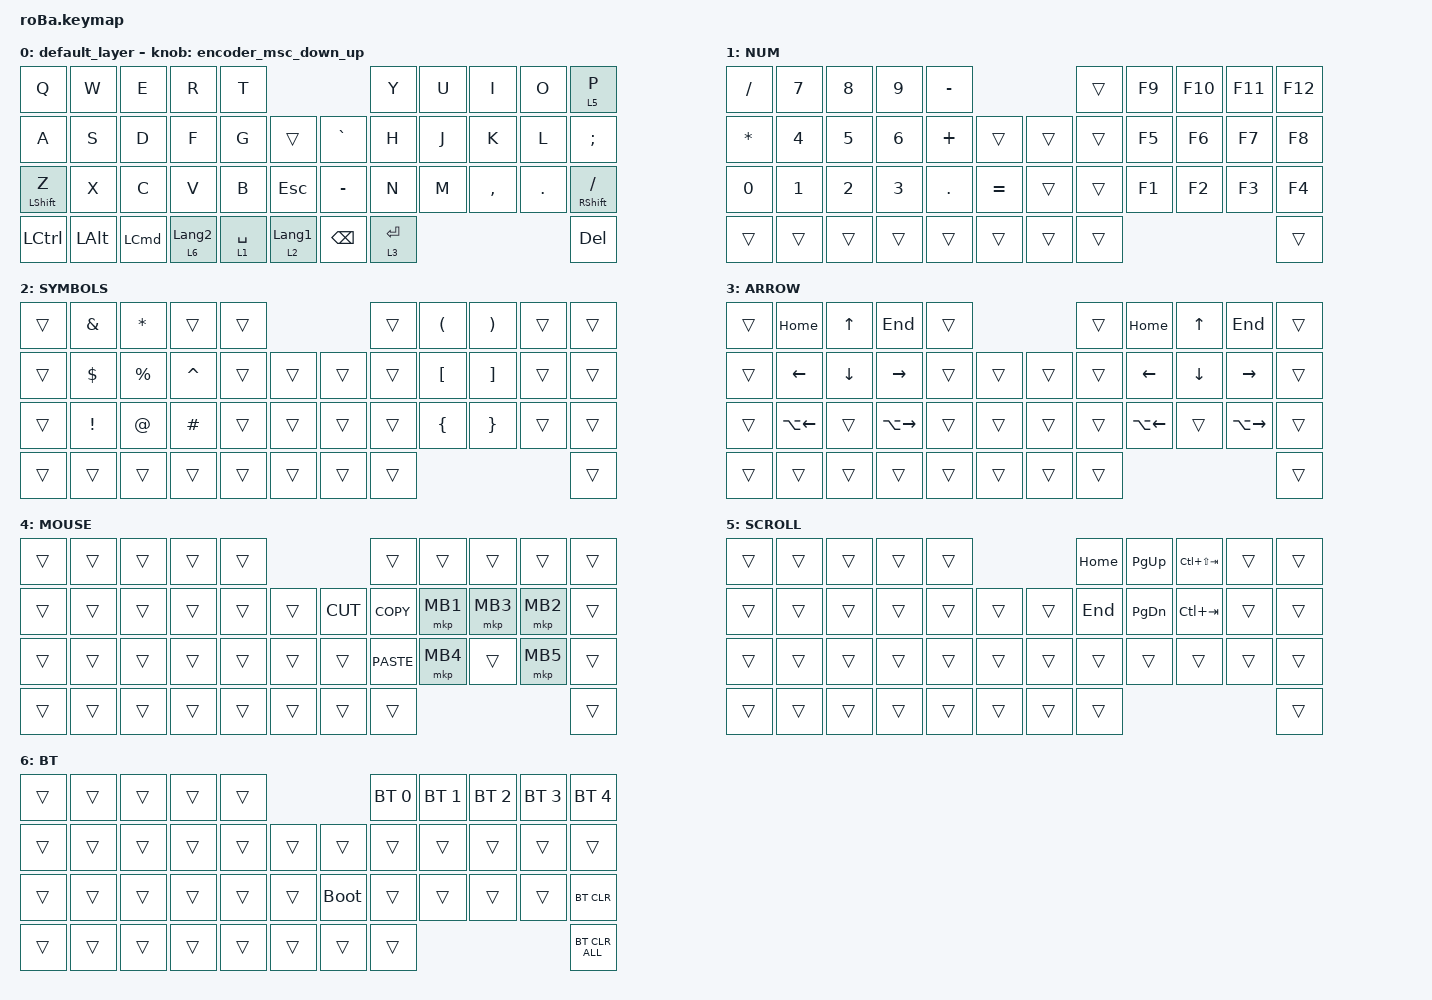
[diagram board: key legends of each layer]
#include <behaviors.dtsi>
#include <dt-bindings/zmk/bt.h>
#include <dt-bindings/zmk/keys.h>
#include <dt-bindings/zmk/pointing.h>

#define ZMK_POINTING_DEFAULT_SCRL_VAL 80

&mt {
    flavor = "balanced";
    quick-tap-ms = <0>;
};

&trackball {
    automouse-layer = <4>;
    scroll-layers = <5>;

    // arrows {
    //     layers = <3>;
    //     bindings =
    //         <&kp RIGHT_ARROW>,
    //         <&kp LEFT_ARROW>,
    //         <&kp UP_ARROW>,
    //         <&kp DOWN_ARROW>;
    //     tick = <10>;
    //     wait-ms = <5>;
    //     tap-ms = <5>;
    // };
};

/ {
    combos {
        compatible = "zmk,combos";

        tab {
            bindings = <&kp TAB>;
            key-positions = <11 12>;
            layers = <0>;
        };

        shift_tab {
            bindings = <&kp LS(TAB)>;
            key-positions = <12 13>;
            layers = <0>;
        };

        eq {
            bindings = <&kp EQUAL>;
            key-positions = <8 9>;
            layers = <0>;
        };

        qt {
            bindings = <&kp SQT>;
            key-positions = <20 21>;
            layers = <0>;
        };

        backslash {
            bindings = <&kp BACKSLASH>;
            key-positions = <32 33>;
            layers = <0>;
        };
    };

    macros {
        to_layer_0: to_layer_0 {
            compatible = "zmk,behavior-macro-one-param";
            #binding-cells = <1>;
            bindings = <&to 0 &macro_param_1to1 &kp MACRO_PLACEHOLDER>;
            label = "TO_LAYER_0";
        };
    };

    behaviors {
        lt_to_layer_0: lt_to_layer_0 {
            compatible = "zmk,behavior-hold-tap";
            label = "LAYER_TAP_TO_0";
            bindings = <&mo>, <&to_layer_0>;

            #binding-cells = <2>;
            tapping-term-ms = <200>;
        };

        encoder_msc_down_up: encoder_msc_down_up {
            compatible = "zmk,behavior-sensor-rotate";
            label = "ENCODER_MSC_DOWN_UP";
            #sensor-binding-cells = <0>;
            bindings = <&msc SCRL_DOWN>, <&msc SCRL_UP>;

            tap-ms = <20>;
        };
    };

    keymap {
        compatible = "zmk,keymap";

        default_layer {
            bindings = <
&kp Q             &kp W         &kp E             &kp R             &kp T                                             &kp Y        &kp U  &kp I      &kp O       &lt 5 P
&kp A             &kp S         &kp D             &kp F             &kp G        &trans                &kp GRAVE      &kp H        &kp J  &kp K      &kp L       &kp SEMICOLON
&mt LEFT_SHIFT Z  &kp X         &kp C             &kp V             &kp B        &kp ESCAPE            &kp MINUS      &kp N        &kp M  &kp COMMA  &kp PERIOD  &mt RIGHT_SHIFT SLASH
&kp LCTRL         &kp LEFT_ALT  &kp LEFT_COMMAND  &lt 6 LANGUAGE_2  &lt 1 SPACE  &lt 2 LANGUAGE_1      &kp BACKSPACE  &lt 3 ENTER                                &kp DEL
            >;

            sensor-bindings = <&encoder_msc_down_up>;
        };

        NUM {
            bindings = <
&kp SLASH     &kp N7        &kp N8        &kp N9        &kp MINUS                          &trans  &kp F9  &kp F10  &kp F11  &kp F12
&kp ASTERISK  &kp NUMBER_4  &kp N5        &kp NUMBER_6  &kp PLUS    &trans         &trans  &trans  &kp F5  &kp F6   &kp F7   &kp F8
&kp N0        &kp NUMBER_1  &kp NUMBER_2  &kp NUMBER_3  &kp PERIOD  &kp EQUAL      &trans  &trans  &kp F1  &kp F2   &kp F3   &kp F4
&trans        &trans        &trans        &trans        &trans      &trans         &trans  &trans                            &trans
            >;
        };

        SYMBOLS {
            bindings = <
&trans  &kp AMPERSAND  &kp ASTERISK  &trans     &trans                      &trans  &kp LEFT_PARENTHESIS  &kp RIGHT_PARENTHESIS  &trans  &trans
&trans  &kp DOLLAR     &kp PERCENT   &kp CARET  &trans  &trans      &trans  &trans  &kp LEFT_BRACKET      &kp RIGHT_BRACKET      &trans  &trans
&trans  &kp EXCL       &kp AT_SIGN   &kp HASH   &trans  &trans      &trans  &trans  &kp LEFT_BRACE        &kp RIGHT_BRACE        &trans  &trans
&trans  &trans         &trans        &trans     &trans  &trans      &trans  &trans                                                       &trans
            >;
        };

        ARROW {
            bindings = <
&trans  &kp HOME      &kp UP    &kp END        &trans                      &trans  &kp HOME            &kp UP_ARROW  &kp END              &trans
&trans  &kp LEFT      &kp DOWN  &kp RIGHT      &trans  &trans      &trans  &trans  &kp LEFT            &kp DOWN      &kp RIGHT            &trans
&trans  &kp LA(LEFT)  &trans    &kp LA(RIGHT)  &trans  &trans      &trans  &trans  &kp LA(LEFT_ARROW)  &trans        &kp LA(RIGHT_ARROW)  &trans
&trans  &trans        &trans    &trans         &trans  &trans      &trans  &trans                                                         &trans
            >;
        };

        MOUSE {
            bindings = <
&trans  &trans  &trans  &trans  &trans                         &trans       &trans    &trans    &trans    &trans
&trans  &trans  &trans  &trans  &trans  &trans      &kp K_CUT  &kp K_COPY   &mkp MB1  &mkp MB3  &mkp MB2  &trans
&trans  &trans  &trans  &trans  &trans  &trans      &trans     &kp K_PASTE  &mkp MB4  &trans    &mkp MB5  &trans
&trans  &trans  &trans  &trans  &trans  &trans      &trans     &trans                                     &trans
            >;
        };

        SCROLL {
            bindings = <
&trans  &trans  &trans  &trans  &trans                      &kp HOME  &kp PAGE_UP    &kp LC(LS(TAB))  &trans  &trans
&trans  &trans  &trans  &trans  &trans  &trans      &trans  &kp END   &kp PAGE_DOWN  &kp LC(TAB)      &trans  &trans
&trans  &trans  &trans  &trans  &trans  &trans      &trans  &trans    &trans         &trans           &trans  &trans
&trans  &trans  &trans  &trans  &trans  &trans      &trans  &trans                                            &trans
            >;
        };

        BT {
            bindings = <
&trans  &trans  &trans  &trans  &trans                           &bt BT_SEL 0  &bt BT_SEL 1  &bt BT_SEL 2  &bt BT_SEL 3  &bt BT_SEL 4
&trans  &trans  &trans  &trans  &trans  &trans      &trans       &trans        &trans        &trans        &trans        &trans
&trans  &trans  &trans  &trans  &trans  &trans      &bootloader  &trans        &trans        &trans        &trans        &bt BT_CLR
&trans  &trans  &trans  &trans  &trans  &trans      &trans       &trans                                                  &bt BT_CLR_ALL
            >;
        };
    };
};
